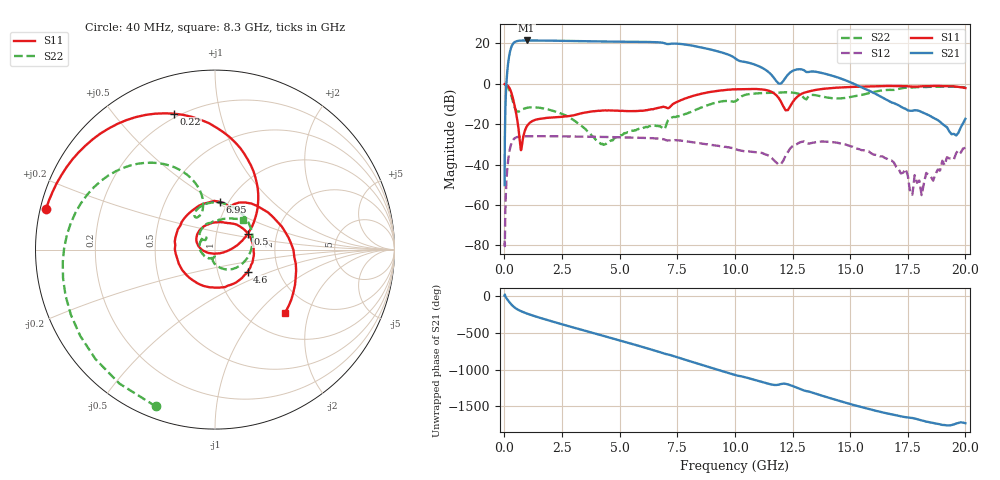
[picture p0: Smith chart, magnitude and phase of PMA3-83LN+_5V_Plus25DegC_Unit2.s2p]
!Mini-Circuits Laboratory
!Date: 9/18/2015 at 7:47:25 AM
!S2P DATA File Format
!Type: MMIC Amplifier
!Model: PMA3-83LN+
!S/N: Unit 2
!Fixture: Unit soldered on TB-830A+ RUN  MN61900 D/C 1537, no port extension
!PIN OUT: PORT 1 - PIN 2, PORT 2 - PIN 8, GROUND - PADDLE, DC POWER SUPPLY - PIN 8, NOT CONNECTED - PINS 1,3 to 7, 9 to 12
!TEST CONDITIONS: Temp= 25 (Deg C) RF Power= -25.00 (dBm) V limit=5(V) I limit=150(mA) Z=50 OHM
!WAFER/LOT#: CP483P004-02, CP483P004-03,CP483P004-04,
!Network Analyzer: PNA-X N5242A S/N 71404 CAL DUE: 09/10/2016
!P.Supply/Multimeter: HP E3632A S/N 63249 CAL DUE: 12/11/2015
!Power Meter: Agilent U2000A S/N 74434 CAL DUE: 10/17/2015
# Hz  S  dB  R  50
!Frequency  S11 dB  S11 Deg  S21 dB  S21 Deg  S12 dB  S12 Deg  S22 dB  S22 Deg
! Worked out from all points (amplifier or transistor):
!   380 points, 10 MHz to 20 GHz, reference 50 ohm
!   highest |S21| = 21.5 dB at 960 MHz (marker M1)
!   |S21| within 3 dB of that: 311 MHz to 8.353 GHz (8.042 GHz wide, 186 % of centre)
!   unconditionally stable (mu >= 1): start of sweep to end of sweep
!   at 640 MHz: K = 1.11, MAG = 21.8 dB, |S12| = -26.1 dB
!   at 5.55 GHz: K = 1.17, MAG = 21.2 dB, |S12| = -26.6 dB
!   at 20 GHz: K = 17.23, MAG = -8.2 dB, |S12| = -31.7 dB
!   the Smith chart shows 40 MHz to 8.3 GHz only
!   S11 on the Smith chart (normalised r, x): 40 MHz: 0.02, +0.12; 220 MHz: 0.18, +0.73; 500 MHz: 1.42, +0.25; 4.6 GHz: 1.39, -0.36; 6.95 GHz: 0.91, +0.52; 8.3 GHz: 1.46, -1.42
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1e7  -0.12 173.7  -50.13 8.5  -77.64 28.1  -0.00 -35.3
4e7  -0.28 166.5  -13.72 0.8  -63.74 -146.8  -0.59 -110.6
2.2e8  -2.03 106.8  14.61 -82.5  -33.38 110.9  -3.28 138.4
5e8  -13.96 25.4  21.00 -166.9  -26.56 27.2  -13.07 109.1
9.6e8  -21.35 173.1  21.50 125.2  -25.91 -34.9  -11.91 108.2
1.5e9  -17.40 132.1  21.46 69.2  -25.90 -82.6  -11.79 64.9
2.15e9  -16.63 99.7  21.37 8.5  -25.92 -132.6  -13.49 10.3
2.8e9  -15.96 70.7  21.20 -49.9  -26.07 179.8  -16.46 -44.3
3.35e9  -14.54 45.5  21.14 -97.9  -26.11 140.9  -20.87 -83.0
4e9  -13.41 7.0  21.03 -155.0  -26.20 94.8  -27.94 -106.4
4.6e9  -13.16 -34.2  20.95 152.5  -26.33 52.6  -28.22 -93.4
5.5e9  -13.48 -112.1  20.84 73.1  -26.56 -11.3  -23.36 -144.3
6.15e9  -13.01 179.3  20.76 14.0  -26.79 -57.9  -21.26 170.6
6.7e9  -11.89 116.2  20.58 -37.8  -27.09 -98.8  -21.00 133.3
6.95e9  -11.44 84.0  20.14 -62.9  -27.60 -118.1  -22.45 135.2
7.55e9  -8.63 29.5  19.85 -116.6  -27.97 -157.7  -16.04 89.9
8.3e9  -5.59 -42.0  18.63 169.5  -29.09 149.0  -12.84 46.9
9.05e9  -3.81 -107.3  16.73 97.5  -30.30 99.2  -9.65 -2.5
1.01e10  -2.70 163.4  11.93 -1.6  -32.65 30.8  -8.03 -58.6
1.34e10  -3.24 -41.3  6.13 122.8  -29.11 -146.9  -5.46 64.6
1.67e10  -1.08 79.5  -8.55 -163.1  -37.80 -84.2  -2.97 108.7
2e10  -2.06 -84.1  -17.31 70.7  -31.66 -110.4  -1.67 -70.4
